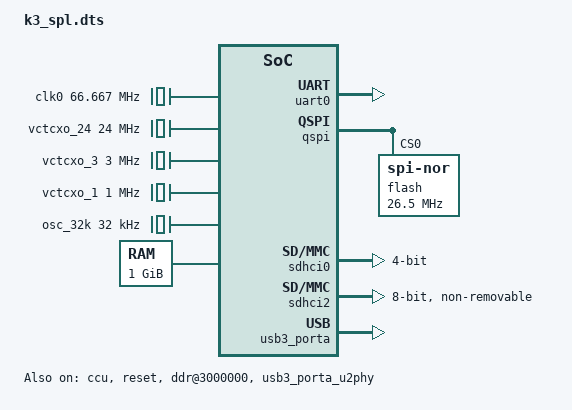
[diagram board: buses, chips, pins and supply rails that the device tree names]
// SPDX-License-Identifier: GPL-2.0
/*
 * K3 FPGA SPL-specific device tree
 * This is a minimal DTS for SPL boot stage only
 *
 * Copyright (C) 2025 SPACEMIT Micro Limited
 */

/dts-v1/;

#include <config.h>
#include "k3-cpus.dtsi"
#include <dt-bindings/reset/reset-spacemit-k3.h>
#include <dt-bindings/clock/spacemit-k3-clock.h>
#include "secure_boot.dtsi"

/ {
	#address-cells = <2>;
	#size-cells = <2>;
	compatible = "spacemit,k3";

	/* Enable debug JTAG on MMC1 pins */
	spacemit,enable-debug-jtag;

	chosen {
		stdout-path = "uart0:115200";
	};

	SECURE_BOOT_SIGNATURE_NODE

	aliases {
		console = &uart0;
		mmc0 = &sdhci0;
		mmc2 = &sdhci2;
	};

	clocks {
		clk0: osc {
			compatible = "fixed-clock";
			#clock-cells = <0>;
			clock-frequency = <66667000>;
		};
		vctcxo_24: vctcxo_24 {
			u-boot,dm-spl;
			#clock-cells = <0>;
			compatible = "fixed-clock";
			clock-frequency = <24000000>;
			clock-output-names = "vctcxo_24";
		};
		vctcxo_3: vctcxo_3 {
			u-boot,dm-spl;
			#clock-cells = <0>;
			compatible = "fixed-clock";
			clock-frequency = <3000000>;
			clock-output-names = "vctcxo_3";
		};
		vctcxo_1: vctcxo_1 {
			u-boot,dm-spl;
			#clock-cells = <0>;
			compatible = "fixed-clock";
			clock-frequency = <1000000>;
			clock-output-names = "vctcxo_1";
		};
		pll1_vco: pll1_vco {
			u-boot,dm-spl;
			#clock-cells = <0>;
			compatible = "fixed-clock";
			clock-frequency = <24576000>;
			clock-output-names = "pll1_vco";
		};
		osc_32k: osc_32k {
			u-boot,dm-spl;
			#clock-cells = <0>;
			compatible = "fixed-clock";
			clock-frequency = <32000>;
			clock-output-names = "osc_32k";
		};
		clk_dummy: clk_dummy {
			u-boot,dm-spl;
			#clock-cells = <0>;
			compatible = "fixed-clock";
			clock-frequency = <0>;
			clock-output-names = "clk_dummy";
		};
	};

	memory@120000000 {
		u-boot,dm-spl;
		device_type = "memory";
		reg = <0x1 0x20000000 0x0 0x40000000>;
	};

	soc {
		u-boot,dm-spl;
		#address-cells = <2>;
		#size-cells = <2>;
		compatible = "simple-bus";
		ranges;

		ccu: clock-controller@d4050000 {
			u-boot,dm-spl;
			compatible = "spacemit,k3-ccu";
			reg = <0x0 0xd4050000 0x0 0x209c>,
				<0x0 0xd4282800 0x0 0x400>,
				<0x0 0xd4015000 0x0 0x1000>,
				<0x0 0xd4090000 0x0 0x1000>,
				<0x0 0xd4282c00 0x0 0x400>,
				<0x0 0xd8440000 0x0 0x98>,
				<0x0 0xc0000000 0x0 0x4280>,
				<0x0 0xf0610000 0x0 0x20>,
				<0x0 0xc0880000 0x0 0xd100>;
			reg-names = "mpmu", "apmu", "apbc", "apbs", "ciu", "dciu", "ddrc", "apbc2", "rcpu";
			clocks = <&vctcxo_24>, <&vctcxo_3>, <&vctcxo_1>, <&pll1_vco>,
				<&osc_32k>, <&clk_dummy>;
			clock-names = "vctcxo_24", "vctcxo_3", "vctcxo_1", "pll1_vco",
				"osc_32k", "clk_dummy";
			#clock-cells = <1>;
			status = "okay";
		};

		reset: reset-controller@d4050000 {
			u-boot,dm-spl;
			compatible = "spacemit,k3-reset";
			reg = <0x0 0xd4050000 0x0 0x209c>,
				<0x0 0xd4282800 0x0 0x400>,
				<0x0 0xd4015000 0x0 0x1000>,
				<0x0 0xd4090000 0x0 0x1000>,
				<0x0 0xd4282c00 0x0 0x400>,
				<0x0 0xd8440000 0x0 0x98>,
				<0x0 0xc0000000 0x0 0x4280>,
				<0x0 0xf0610000 0x0 0x20>,
				<0x0 0xc0880000 0x0 0xd100>;
			reg-names = "mpmu", "apmu", "apbc", "apbs", "ciu", "dciu", "ddrc", "apbc2", "rcpu";
			#reset-cells = <1>;
			status = "okay";
		};

		uart0: uart@d4017000 {
			u-boot,dm-spl;
			compatible = "ns16550";
			reg = <0x00000000 0xD4017000 0x00000000 0x00000100>;
			reg-shift = <2>;
			reg-io-width = <4>;
			clock-frequency = <14745600>;
		};

		rcpu@0 {
			u-boot,dm-spl;
			compatible = "spacemit,k3-rproc";
			reg = <0 0 0 0>;
			remoteproc-name = "rcpu0";
			coreid = <0>;
			mem_heap_start = <0x1 0x500000>;
			mem_heap_size = <0x200000>;
			fw_boot_entry = <0x1 0x200000>;
			status = "disabled";
		};

		rcpu@1 {
			u-boot,dm-spl;
			compatible = "spacemit,k3-rproc";
			reg = <0 0 0 0>;
			remoteproc-name = "rcpu1";
			coreid = <1>;
			mem_heap_start = <0x1 0xB04000>;
			mem_heap_size = <0x200000>;
			fw_boot_entry = <0x1 0x804000>;
			status = "disabled";
		};

		ddr@3000000 {
			u-boot,dm-spl;
			compatible = "spacemit,snps-lp45";
			reg = <0x00000000 0xc0000000 0x00000000 0x00400000>;
			status = "okay";
		};

		qspi: spi@d420c000 {
			u-boot,dm-spl;
			compatible = "spacemit,k3-qspi";
			#address-cells = <1>;
			#size-cells = <0>;
			reg = <0x0 0xd420c000 0x0 0x1000>,
			      <0x0 0xb8000000 0x0 0x4100000>;
			reg-names = "qspi-base", "qspi-mmap";
			qspi-sfa1ad = <0x4000000>;
			qspi-sfa2ad = <0x100000>;
			qspi-sfb1ad = <0x100000>;
			qspi-sfb2ad = <0x100000>;
			qspi-pmuap-reg = <0xd4282860>;
			qspi-mpmu-acgr-reg = <0xd4051024>;
			qspi-ahbread = <0>;
			qspi-freq = <26500000>;
			qspi-id = <4>;
			clocks = <&ccu CLK_QSPI>,
			          <&ccu CLK_QSPI_BUS>;
			clock-names = "qspi_clk", "qspi_bus_clk";
			resets = <&reset RESET_QSPI>,
				<&reset RESET_QSPI_BUS>;
			reset-names = "qspi_reset", "qspi_bus_reset";
			status = "okay";

			flash@0 {
				u-boot,dm-spl;
				compatible = "jedec,spi-nor";
				reg = <0>;
				spi-max-frequency = <26500000>;
				m25p,fast-read;
				broken-flash-reset;
				status = "okay";
			};
		};

		sdhci0: sdh@d4280000 {
			u-boot,dm-spl;
			compatible = "spacemit,k3-sdhci";
			reg = <0x0 0xd4280000 0x0 0x200>;
			resets = <&reset RESET_SDH_AXI>,
				 <&reset RESET_SDH0>;
			reset-names = "sdh_axi", "sdh0";
			clocks = <&ccu CLK_SDH0>,
				 <&ccu CLK_SDH_AXI>;
			clock-names = "sdh-io", "sdh-core";
			bus-width = <4>;
			broken-cd;
			no-1-8-v;
			cap-sd-highspeed;
			sdh-phy-module = <0>;
			status = "okay";
		};

		sdhci2: sdh@d4281000 {
			compatible = "spacemit,k3-sdhci";
			u-boot,dm-spl;
			reg = <0x0 0xd4281000 0x0 0x200>;
			resets = <&reset RESET_SDH_AXI>,
				 <&reset RESET_SDH2>;
			reset-names = "sdh_axi", "sdh2";
			clocks = <&ccu CLK_SDH2>,
				 <&ccu CLK_SDH_AXI>;
			clock-names = "sdh-io", "sdh-core";
			bus-width = <8>;
			non-removable;
			mmc-hs400-1_8v;
			mmc-hs400-enhanced-strobe;
			sdh-phy-module = <1>;
			status = "okay";
		};

		usb3_porta_u2phy: phy@cad20000 {
			u-boot,dm-spl;
			compatible = "spacemit,usb2-phy";
			reg = <0x0 0xcad20000 0x0 0x200>;
			#phy-cells = <0>;
			status = "okay";
		};

		usb3_porta: usb3@0 {
			u-boot,dm-spl;
			compatible = "spacemit,k3-dwc3";
			#address-cells = <2>;
			#size-cells = <2>;
			resets = <&reset RESET_USB3_PORTA>;
			reset-names = "ctl_rst";
			clocks = <&ccu CLK_USB3_PORTA_BUS>;
			clock-names = "bus";
			ranges;
			status = "okay";

			dwc3@cad00000 {
				reg = <0x0 0xcad00000 0x0 0x10000>;
				dr_mode = "peripheral";
				maximum-speed = "high-speed";
				/* this breaks FPGA usb,
				 * set utmi_wide if running on FPGA */
				phy_type = "utmi";
				snps,dis_enblslpm_quirk;
				snps,dis_u2_susphy_quirk;
				snps,dis_u3_susphy_quirk;
				phys = <&usb3_porta_u2phy>;
				phy-names = "usb2-phy";
				u-boot,dm-spl;
			};
		};

		efuse: fuse@f0702800 {
			u-boot,dm-spl;
			compatible = "spacemit,k3-efuse";
			reg = <0x0 0xf0702800 0x0 0x400>;
			resets = <&reset RESET_AES_WTM>;
			reset-names = "aes_reset";
			/*
			clocks = <&ccu CLK_AES_WTM>;
			clock-names = "aes_core_wtm";
			*/
			status = "disabled";
		};

		i2c8: twsi8@d401d800 {
			compatible = "spacemit,i2c";
			reg = <0x0 0xd401d800 0x0 0x38>;
			#address-cells = <1>;
			#size-cells = <0>;
			status = "disabled";
		};
	};
};

&i2c8 {
	clock-frequency = <100000>;
	u-boot,dm-spl;
	status = "disabled";

	spm8821: pmic@41 {
		compatible = "spacemit,spm8821";
		reg = <0x41>;
		bus = <8>;
		u-boot,dm-spl;

		regulators {
			/* buck */
			dcdc_1: DCDC_REG1 {
				regulator-name = "dcdc1";
				regulator-min-microvolt = <500000>;
				regulator-max-microvolt = <3450000>;
				/* regulator-init-microvolt = <1050000>; */
				regulator-boot-on;
				u-boot,dm-spl;
				regulator-state-mem {
					regulator-suspend-microvolt = <650000>;
				};
			};

			dcdc_2: DCDC_REG2 {
				regulator-name = "dcdc2";
				regulator-min-microvolt = <500000>;
				regulator-max-microvolt = <3450000>;
				regulator-state-mem {
					regulator-off-in-suspend;
				};
			};

			dcdc_3: DCDC_REG3 {
				regulator-name = "dcdc3";
				regulator-min-microvolt = <500000>;
				regulator-max-microvolt = <3450000>;
				regulator-boot-on;
				u-boot,dm-spl;
				regulator-state-mem {
					regulator-off-in-suspend;
				};
			};

			dcdc_4: DCDC_REG4 {
				regulator-name = "dcdc4";
				regulator-min-microvolt = <500000>;
				regulator-max-microvolt = <3450000>;
				regulator-state-mem {
					regulator-off-in-suspend;
				};
			};

			dcdc_5: DCDC_REG5 {
				regulator-name = "dcdc5";
				regulator-min-microvolt = <500000>;
				regulator-max-microvolt = <3450000>;
				regulator-state-mem {
					regulator-off-in-suspend;
				};
			};

			dcdc_6: DCDC_REG6 {
				regulator-name = "dcdc6";
				regulator-min-microvolt = <500000>;
				regulator-max-microvolt = <3450000>;
				regulator-state-mem {
					regulator-off-in-suspend;
				};
			};

			/* aldo */
			ldo_1: LDO_REG1 {
				regulator-name = "ldo1";
				regulator-min-microvolt = <500000>;
				regulator-max-microvolt = <3400000>;
				regulator-init-microvolt = <3300000>;
				regulator-boot-on;
				u-boot,dm-spl;
				regulator-state-mem {
					regulator-off-in-suspend;
				};
			};

			ldo_2: LDO_REG2 {
				regulator-name = "ldo2";
				regulator-min-microvolt = <500000>;
				regulator-max-microvolt = <3400000>;
				regulator-state-mem {
					regulator-off-in-suspend;
				};
			};

			ldo_3: LDO_REG3 {
				regulator-name = "ldo3";
				regulator-min-microvolt = <500000>;
				regulator-max-microvolt = <3400000>;
				regulator-state-mem {
					regulator-off-in-suspend;
				};
			};

			ldo_4: LDO_REG4 {
				regulator-name = "ldo4";
				regulator-min-microvolt = <500000>;
				regulator-max-microvolt = <3400000>;
				regulator-state-mem {
					regulator-off-in-suspend;
				};
			};

			/* dldo */
			ldo_5: LDO_REG5 {
				regulator-name = "ldo5";
				regulator-min-microvolt = <500000>;
				regulator-max-microvolt = <3400000>;
				regulator-state-mem {
					regulator-off-in-suspend;
				};
			};

			ldo_6: LDO_REG6 {
				regulator-name = "ldo6";
				regulator-min-microvolt = <500000>;
				regulator-max-microvolt = <3400000>;
				regulator-state-mem {
					regulator-off-in-suspend;
				};
			};

			ldo_7: LDO_REG7 {
				regulator-name = "ldo7";
				regulator-min-microvolt = <500000>;
				regulator-max-microvolt = <3400000>;
				regulator-state-mem {
					regulator-off-in-suspend;
				};
			};

			ldo_8: LDO_REG8 {
				regulator-name = "ldo8";
				regulator-min-microvolt = <500000>;
				regulator-max-microvolt = <3400000>;
				regulator-state-mem {
					regulator-off-in-suspend;
				};
			};

			ldo_9: LDO_REG9 {
				regulator-name = "ldo9";
				regulator-min-microvolt = <500000>;
				regulator-max-microvolt = <3400000>;
				regulator-state-mem {
					regulator-off-in-suspend;
				};
			};

			ldo_10: LDO_REG10 {
				regulator-name = "ldo10";
				regulator-min-microvolt = <500000>;
				regulator-max-microvolt = <3400000>;
				regulator-state-mem {
					regulator-off-in-suspend;
				};
			};

			ldo_11: LDO_REG11 {
				regulator-name = "ldo11";
				regulator-min-microvolt = <500000>;
				regulator-max-microvolt = <3400000>;
				regulator-state-mem {
					regulator-off-in-suspend;
				};
			};

			sw_2: SWITCH_REG1 {
				regulator-name = "switch1";
			};

			power_event: SWITCH_REG2 {
				regulator-name = "pwr-event";
			};

			power_int: SWITCH_REG3 {
				regulator-name = "pwr-int";
			};

			rtc_ctrl: SWITCH_REG4 {
				regulator-name = "rtc-ctrl";
			};

			rtc_event: SWITCH_REG5 {
				regulator-name = "rtc-event";
			};

			rtc_irq: SWITCH_REG6 {
				regulator-name = "rtc-irq";
			};

			power_down: SWITCH_REG7 {
				regulator-name = "power-down";
			};

			reboot_flag: SWITCH_REG8 {
				regulator-name = "reboot-flag";
			};

			wdt_pm8821: PMIC_WDT {
				wdt-name = "wdt_pm8821";
			};
		};
	};

	mpq8655: mpq8655@30 {
		compatible = "spacemit,mpq8655";
		reg = <0x30>;
		bus = <8>;
		u-boot,dm-spl;

		regulators {
			u-boot,dm-spl;

			edcdc_1: EDCDC_REG1 {
				regulator-name = "edcdc1";
				regulator-min-microvolt = <534000>;
				regulator-max-microvolt = <880000>;
				regulator-init-microvolt = <800000>;
				regulator-boot-on;
				u-boot,dm-spl;
				regulator-state-mem {
					regulator-off-in-suspend;
				};
			};
		};
	};
};
